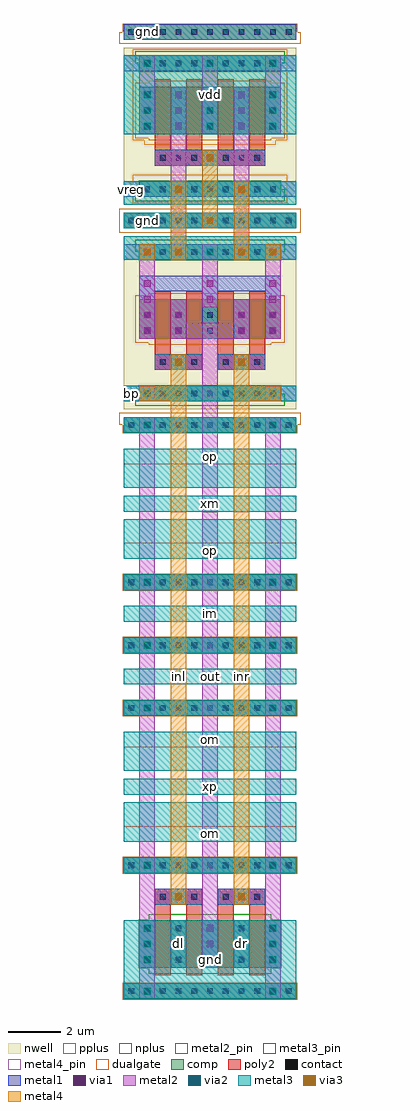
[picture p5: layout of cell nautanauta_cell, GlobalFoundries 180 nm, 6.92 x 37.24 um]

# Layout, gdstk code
import gdstk
lib = gdstk.Library(unit=1e-6, precision=1e-09)
def R(c, l, rs):  # rectangles x0, y0, x1, y1
    for r in rs: c.add(gdstk.rectangle(r[:2], r[2:], *l))
def A(c, l, x, y, w, h, nx, ny, dx, dy):  # array of equal rectangles
    R(c, l, [(x+i*dx, y+j*dy, x+i*dx+w, y+j*dy+h) for i in range(nx) for j in range(ny)])
nwell = (21, 0)
comp = (22, 0)
poly2 = (30, 0)
pplus = (31, 0)
nplus = (32, 0)
contact = (33, 0)
metal1 = (34, 0)
via1 = (35, 0)
metal2 = (36, 0)
metal2_pin = (36, 10)
via2 = (38, 0)
via3 = (40, 0)
metal3 = (42, 0)
metal3_pin = (42, 10)
metal4 = (46, 0)
metal4_pin = (46, 10)
dualgate = (55, 0)

nautanauta_cell = lib.new_cell('nautanauta_cell')
R(nautanauta_cell, nwell, [(-36,15.9,-29.4,22.5), (-36,23.7,-29.4,29.7)])
A(nautanauta_cell, comp, -36, 4.2, 6.6, 0.6, 1, 3, 0, 2.4)
R(nautanauta_cell, comp, [(-36,-6.6,-29.4,-6), (-35.4,-5.4,-30,-3.6), (-36,-1.8,-29.4,-1.2), (-36,15,-29.4,15.6), (-35.4,16.2,-30,16.8), (-35.4,18.6,-30,20.1), (-35.4,21.6,-30,22.2), (-36,22.8,-29.4,23.4), (-35.4,24,-30,24.6), (-35.4,26.4,-30,28.2), (-35.4,28.8,-30,29.4), (-36,30,-29.4,30.6)])
A(nautanauta_cell, poly2, -34.8, -5.7, 0.6, 2.7, 4, 2, 1.2, 31.5)
A(nautanauta_cell, poly2, -34.8, 18, 0.6, 2.4, 4, 1, 1.2, 0)
R(nautanauta_cell, poly2, [(-34.8,-3,-33,-2.4), (-32.4,-3,-30.6,-2.4), (-34.8,17.4,-33,18), (-32.4,17.4,-30.6,18), (-34.8,25.2,-30.6,25.8)])
A(nautanauta_cell, pplus, -36.02, 4.18, 6.64, 0.64, 1, 3, 0, 2.4)
R(nautanauta_cell, pplus, [(-36.02,-6.62,-29.38,-5.98), (-36.02,-1.82,-29.38,-1.18), (-36.02,14.98,-29.38,15.31), (-36.16,15.31,-29.24,15.76), (-35.03,18.37,-30.37,18.44), (-35.56,18.44,-29.84,20.26), (-35.03,20.26,-30.37,20.33), (-36.16,22.64,-29.24,23.56), (-35.03,26.17,-30.37,26.24), (-35.56,26.24,-29.84,28.36), (-35.03,28.36,-30.37,28.43), (-36.16,29.84,-29.24,30.29), (-36.02,30.29,-29.38,30.62)])
R(nautanauta_cell, nplus, [(-35.03,-5.63,-30.37,-5.42), (-35.42,-5.42,-29.98,-3.58), (-35.03,-3.58,-30.37,-3.37), (-35.56,16.04,-29.84,16.49), (-35.42,16.49,-29.98,16.82), (-35.42,21.58,-29.98,21.91), (-35.56,21.91,-29.84,22.36), (-35.56,23.84,-29.84,24.29), (-35.42,24.29,-29.98,24.62), (-35.42,28.78,-29.98,29.11), (-35.56,29.11,-29.84,29.56)])
A(nautanauta_cell, contact, -35.81, -6.41, 0.22, 0.22, 11, 2, 0.6, 4.8)
A(nautanauta_cell, contact, -35.21, -5.21, 0.22, 0.22, 5, 3, 1.2, 0.6)
A(nautanauta_cell, contact, -34.61, -2.81, 0.22, 0.22, 3, 2, 0.6, 20.4)
A(nautanauta_cell, contact, -32.21, -2.81, 0.22, 0.22, 3, 2, 0.6, 20.4)
A(nautanauta_cell, contact, -35.81, 4.39, 0.22, 0.22, 11, 3, 0.6, 2.4)
A(nautanauta_cell, contact, -35.81, 15.19, 0.22, 0.22, 11, 2, 0.6, 7.8)
A(nautanauta_cell, contact, -35.21, 16.39, 0.22, 0.22, 9, 2, 0.6, 5.4)
A(nautanauta_cell, contact, -35.21, 18.79, 0.22, 0.22, 5, 2, 1.2, 0.6)
A(nautanauta_cell, contact, -35.21, 24.19, 0.22, 0.22, 9, 2, 0.6, 4.8)
A(nautanauta_cell, contact, -34.61, 25.39, 0.22, 0.22, 7, 1, 0.6, 0)
A(nautanauta_cell, contact, -35.21, 26.59, 0.22, 0.22, 5, 3, 1.2, 0.6)
A(nautanauta_cell, contact, -35.81, 30.19, 0.22, 0.22, 11, 1, 0.6, 0)
A(nautanauta_cell, metal1, -35.4, -5.4, 0.6, 1.8, 5, 2, 1.2, 31.8)
A(nautanauta_cell, metal1, -36, 4.2, 6.6, 0.6, 1, 3, 0, 2.4)
A(nautanauta_cell, metal1, -35.4, 18.6, 0.6, 1.8, 3, 1, 2.4, 0)
A(nautanauta_cell, metal1, -36, 21.6, 6.6, 0.6, 1, 3, 0, 1.2)
R(nautanauta_cell, metal1, [(-36,-6.6,-29.4,-6), (-34.8,-3,-33,-2.4), (-32.4,-3,-30.6,-2.4), (-36,-1.8,-29.4,-1.2), (-36,15,-29.4,15.6), (-36,16.2,-29.4,16.8), (-34.8,17.4,-33,18), (-32.4,17.4,-30.6,18), (-34.2,18.6,-33.6,20.1), (-31.8,18.6,-31.2,20.1), (-35.4,20.4,-30,21), (-34.8,25.2,-30.6,25.8), (-36,28.8,-29.4,29.4), (-36,30,-29.4,30.6)])
A(nautanauta_cell, via1, -35.23, -5.23, 0.26, 0.26, 3, 3, 2.4, 0.6)
A(nautanauta_cell, via1, -35.23, 4.37, 0.26, 0.26, 1, 3, 0, 2.4)
A(nautanauta_cell, via1, -30.43, 4.37, 0.26, 0.26, 1, 3, 0, 2.4)
A(nautanauta_cell, via1, -35.23, 19.97, 0.26, 0.26, 3, 2, 2.4, 0.6)
A(nautanauta_cell, via1, -35.23, 26.57, 0.26, 0.26, 5, 3, 1.2, 0.6)
A(nautanauta_cell, via1, -35.23, 28.97, 0.26, 0.26, 3, 1, 2.4, 0)
R(nautanauta_cell, via1, [(-35.23,-6.43,-34.97,-6.17), (-30.43,-6.43,-30.17,-6.17), (-34.03,-2.83,-33.77,-2.57), (-31.63,-2.83,-31.37,-2.57), (-35.23,-1.63,-34.97,-1.37), (-30.43,-1.63,-30.17,-1.37), (-35.23,15.17,-34.97,15.43), (-30.43,15.17,-30.17,15.43), (-35.23,16.37,-34.97,16.63), (-30.43,16.37,-30.17,16.63), (-34.03,17.57,-33.77,17.83), (-31.63,17.57,-31.37,17.83), (-35.23,18.77,-34.97,19.03), (-34.03,18.77,-33.77,19.03), (-31.63,18.77,-31.37,19.03), (-30.43,18.77,-30.17,19.03), (-35.23,19.37,-34.97,19.63), (-34.03,19.37,-33.77,19.63), (-31.63,19.37,-31.37,19.63), (-30.43,19.37,-30.17,19.63), (-32.83,25.37,-32.57,25.63)])
A(nautanauta_cell, metal2, -35.4, 26.4, 0.6, 3, 3, 1, 2.4, 0)
R(nautanauta_cell, metal2, [(-35.4,-6.6,-34.8,15.6), (-30.6,-6.6,-30,15.6), (-33,-5.4,-32.4,18.6), (-34.2,-3,-33.6,-2.4), (-31.8,-3,-31.2,-2.4), (-35.4,16.2,-34.8,16.8), (-30.6,16.2,-30,16.8), (-34.2,17.4,-33.6,18), (-31.8,17.4,-31.2,18), (-35.4,18.6,-34.8,22.2), (-34.2,18.6,-31.2,19.2), (-30.6,18.6,-30,22.2), (-34.2,19.2,-33.6,20.1), (-31.8,19.2,-31.2,20.1), (-33,19.8,-32.4,22.2), (-34.2,21.6,-33.6,28.2), (-31.8,21.6,-31.2,28.2), (-33,25.2,-32.4,25.8)])
R(nautanauta_cell, metal2_pin, [(-33,-0.6,-32.4,12)])
A(nautanauta_cell, via2, -35.23, -5.23, 0.26, 0.26, 1, 3, 0, 0.6)
A(nautanauta_cell, via2, -30.43, -5.23, 0.26, 0.26, 1, 3, 0, 0.6)
A(nautanauta_cell, via2, -35.23, 4.37, 0.26, 0.26, 1, 3, 0, 2.4)
A(nautanauta_cell, via2, -30.43, 4.37, 0.26, 0.26, 1, 3, 0, 2.4)
A(nautanauta_cell, via2, -35.23, 21.77, 0.26, 0.26, 5, 1, 1.2, 0)
A(nautanauta_cell, via2, -35.23, 26.57, 0.26, 0.26, 3, 3, 2.4, 0.6)
A(nautanauta_cell, via2, -35.23, 28.97, 0.26, 0.26, 3, 1, 2.4, 0)
R(nautanauta_cell, via2, [(-35.23,-6.43,-34.97,-6.17), (-30.43,-6.43,-30.17,-6.17), (-34.03,-2.83,-33.77,-2.57), (-31.63,-2.83,-31.37,-2.57), (-35.23,-1.63,-34.97,-1.37), (-30.43,-1.63,-30.17,-1.37), (-35.23,15.17,-34.97,15.43), (-30.43,15.17,-30.17,15.43), (-35.23,16.37,-34.97,16.63), (-30.43,16.37,-30.17,16.63), (-34.03,17.57,-33.77,17.83), (-31.63,17.57,-31.37,17.83), (-34.03,24.17,-33.77,24.43), (-31.63,24.17,-31.37,24.43), (-32.83,25.37,-32.57,25.63)])
R(nautanauta_cell, via3, [(-34.03,-2.83,-33.77,-2.57), (-31.63,-2.83,-31.37,-2.57), (-34.03,17.57,-33.77,17.83), (-31.63,17.57,-31.37,17.83), (-35.23,21.77,-34.97,22.03), (-34.03,21.77,-33.77,22.03), (-31.63,21.77,-31.37,22.03), (-30.43,21.77,-30.17,22.03), (-32.83,22.97,-32.57,23.23), (-34.03,24.17,-33.77,24.43), (-31.63,24.17,-31.37,24.43), (-32.83,25.37,-32.57,25.63)])
A(nautanauta_cell, metal3, -36, -1.8, 6.6, 0.6, 1, 3, 0, 3)
A(nautanauta_cell, metal3, -36, 5.4, 6.6, 0.6, 1, 4, 0, 1.2)
R(nautanauta_cell, metal3, [(-36,-6.6,-29.4,-3.6), (-34.2,-3,-33.6,-2.4), (-31.8,-3,-31.2,-2.4), (-36,-0.6,-29.4,0.9), (-36,2.1,-29.4,3.6), (-36,10.2,-29.4,11.7), (-36,12,-29.4,12.6), (-36,12.9,-29.4,14.4), (-36,15,-29.4,15.6), (-36,16.2,-29.4,16.8), (-34.2,17.4,-33.6,18), (-31.8,17.4,-31.2,18), (-36,21.6,-29.4,22.5), (-36,22.8,-29.4,23.4), (-36,23.7,-29.4,24.6), (-33,25.2,-32.4,25.8), (-36,26.4,-29.4,29.4)])
A(nautanauta_cell, metal3_pin, -36, -0.6, 6.6, 0.6, 1, 3, 0, 1.8)
A(nautanauta_cell, metal3_pin, -36, 5.4, 6.6, 0.6, 1, 3, 0, 2.4)
R(nautanauta_cell, metal3_pin, [(-36,-6.6,-29.4,-3.6), (-36,12,-29.4,12.6), (-36,13.8,-29.4,14.4), (-36,16.2,-35.4,16.8), (-36,22.8,-35.4,23.4), (-36,24,-35.4,24.6), (-36,26.4,-29.4,29.4)])
R(nautanauta_cell, metal4, [(-34.2,-3,-33.6,16.2), (-31.8,-3,-31.2,16.2), (-35.4,16.2,-33.6,16.8), (-31.8,16.2,-30,16.8), (-34.2,16.8,-33.6,18), (-31.8,16.8,-31.2,18), (-35.4,21.6,-34.8,22.2), (-34.2,21.6,-33.6,24.6), (-31.8,21.6,-31.2,24.6), (-30.6,21.6,-30,22.2), (-33,22.8,-32.4,25.8)])
R(nautanauta_cell, metal4_pin, [(-34.2,-0.6,-33.6,12), (-31.8,-0.6,-31.2,12)])
R(nautanauta_cell, dualgate, [(-35.64,23.76,-29.76,24.84), (-35.2,26,-30.2,26.16), (-35.64,26.16,-29.76,29.64)])
nautanauta_cell.add(gdstk.Label('dl', (-33.9,-4.5), layer=34, texttype=0))
nautanauta_cell.add(gdstk.Label('dr', (-31.5,-4.5), layer=34, texttype=0))
nautanauta_cell.add(gdstk.Label('gnd', (-35.1,23.1), layer=34, texttype=0))
nautanauta_cell.add(gdstk.Label('gnd', (-35.1,30.3), layer=34, texttype=0))
nautanauta_cell.add(gdstk.Label('inl', (-33.9,5.7), layer=46, texttype=10))
nautanauta_cell.add(gdstk.Label('inr', (-31.5,5.7), layer=46, texttype=10))
nautanauta_cell.add(gdstk.Label('out', (-32.7,5.7), layer=36, texttype=10))
nautanauta_cell.add(gdstk.Label('vdd', (-32.7,27.9), layer=42, texttype=10))
nautanauta_cell.add(gdstk.Label('gp', (-35.7,23.1), layer=42, texttype=10))
nautanauta_cell.add(gdstk.Label('bp', (-35.7,16.5), layer=42, texttype=10))
nautanauta_cell.add(gdstk.Label('vreg', (-35.7,24.3), layer=42, texttype=10))
nautanauta_cell.add(gdstk.Label('op', (-32.7,14.1), layer=42, texttype=10))
nautanauta_cell.add(gdstk.Label('op', (-32.7,10.5), layer=42, texttype=10))
nautanauta_cell.add(gdstk.Label('xm', (-32.7,12.3), layer=42, texttype=10))
nautanauta_cell.add(gdstk.Label('im', (-32.7,8.1), layer=42, texttype=10))
nautanauta_cell.add(gdstk.Label('ip', (-32.7,5.7), layer=42, texttype=10))
nautanauta_cell.add(gdstk.Label('xp', (-32.7,1.5), layer=42, texttype=10))
nautanauta_cell.add(gdstk.Label('gnd', (-32.7,-5.1), layer=42, texttype=10))
nautanauta_cell.add(gdstk.Label('om', (-32.7,-0.3), layer=42, texttype=10))
nautanauta_cell.add(gdstk.Label('om', (-32.7,3.3), layer=42, texttype=10))

lib.write_gds('nautanauta_cell.gds')
